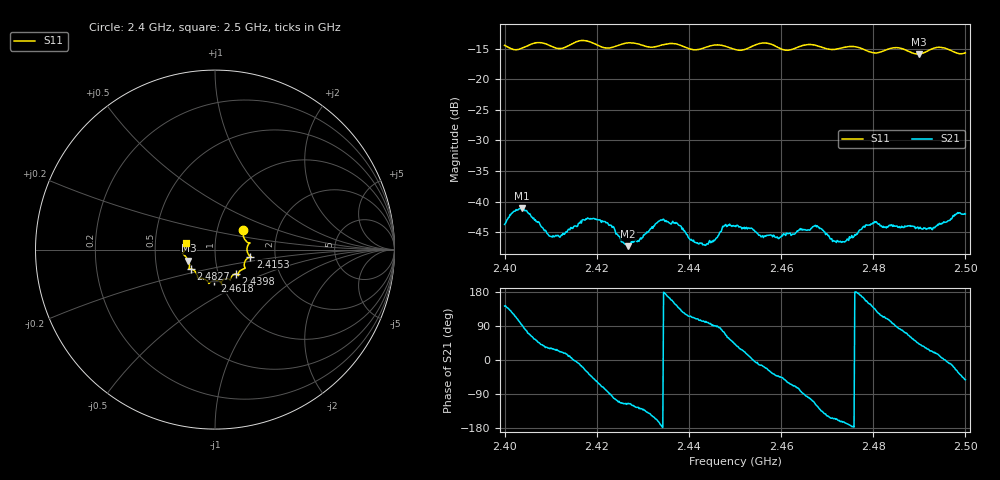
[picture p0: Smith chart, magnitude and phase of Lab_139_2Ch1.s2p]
# Hz S RI R
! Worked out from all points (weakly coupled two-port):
!   601 points, 2.4 GHz to 2.5 GHz, reference 50 ohm
!   highest |S21| = -41.03 dB at 2.4037 GHz (marker M1); lowest = -47.3 dB at 2.4268 GHz (marker M2)
!   lowest |S11| = -15.9 dB at 2.4898 GHz (marker M3), VSWR 1.38, Z = 36.9 - j4.65 ohm
!   |S11| at or under -10 dB: start of sweep to end of sweep
!   S12 and S22 are empty: the file has one direction only
!   S11 on the Smith chart (normalised r, x): 2.4 GHz: 1.33, +0.29; 2.4153 GHz: 1.48, -0.12; 2.4398 GHz: 1.21, -0.34; 2.4618 GHz: 0.94, -0.33; 2.4827 GHz: 0.75, -0.17; 2.5 GHz: 0.72, +0.06
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2.4e9  0.1557 0.1066  -0.00517 0.00397  0 0  0 0
2.403667e9  0.1714 0.0497  -0.000488 0.00887  0 0  0 0
2.410167e9  0.1839 0.0248  0.00444 0.00268  0 0  0 0
2.415333e9  0.1964 -0.0388  0.00633 -0.000278  0 0  0 0
2.416667e9  0.2023 -0.0427  0.00645 -0.00176  0 0  0 0
2.422e9  0.1677 -0.0641  0.00123 -0.0066  0 0  0 0
2.426833e9  0.1687 -0.1033  -0.00177 -0.00395  0 0  0 0
2.433333e9  0.1296 -0.134  -0.00655 -0.0021  0 0  0 0
2.437e9  0.1316 -0.1434  -0.0056 0.00356  0 0  0 0
2.439833e9  0.1155 -0.1358  -0.00225 0.00461  0 0  0 0
2.443667e9  0.0861 -0.1605  -0.00091 0.00431  0 0  0 0
2.447667e9  0.0825 -0.1675  0.00188 0.00606  0 0  0 0
2.45e9  0.0649 -0.1622  0.00468 0.00425  0 0  0 0
2.456333e9  0.039 -0.1938  0.00497 -0.00164  0 0  0 0
2.461833e9  -0.00331 -0.1729  0.00257 -0.00489  0 0  0 0
2.466667e9  -0.035 -0.1882  -0.00163 -0.00587  0 0  0 0
2.473333e9  -0.0839 -0.1597  -0.00454 -0.0013  0 0  0 0
2.480167e9  -0.1111 -0.1207  -0.00484 0.00463  0 0  0 0
2.482667e9  -0.1344 -0.1083  -0.00214 0.00583  0 0  0 0
2.483333e9  -0.1394 -0.1081  -0.00182 0.00606  0 0  0 0
2.489833e9  -0.1479 -0.0615  0.00435 0.00413  0 0  0 0
2.5e9  -0.1594 0.0386  0.00487 -0.00625  0 0  0 0
